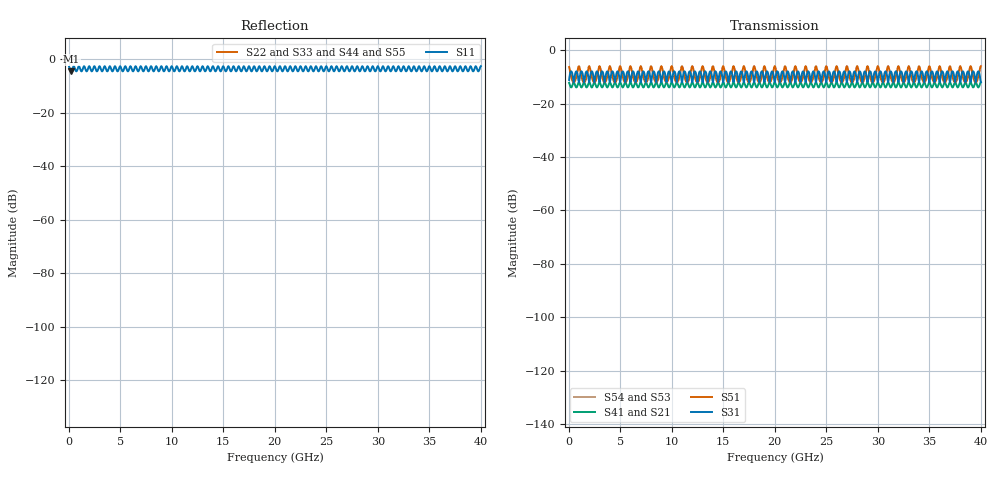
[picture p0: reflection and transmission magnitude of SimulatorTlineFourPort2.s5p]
# MHz MA S R 50.0
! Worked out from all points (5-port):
!   800 points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, 50 MHz to 40 GHz, reference 50 ohm
!   strongest paths, dB at 50 MHz, 10.05 GHz, 20.05 GHz, 30.05 GHz, 40 GHz:
!     S31: -11.2, -11.2, -11.2, -11.2, -12.0
!     S51: -6.3, -6.3, -6.3, -6.3, -6.0
!     S41: -12.3, -12.3, -12.3, -12.3, -12.0
!     S21: -12.3, -12.3, -12.3, -12.3, -12.0
!     S54: -, -, -, -, -
!     S53: -, -, -, -, -
!   lowest |S11| = -4.4 dB at 250 MHz (marker M1), VSWR 4.00, Z = 200 + j0 ohm
!   |S11| at or under -10 dB: nowhere
